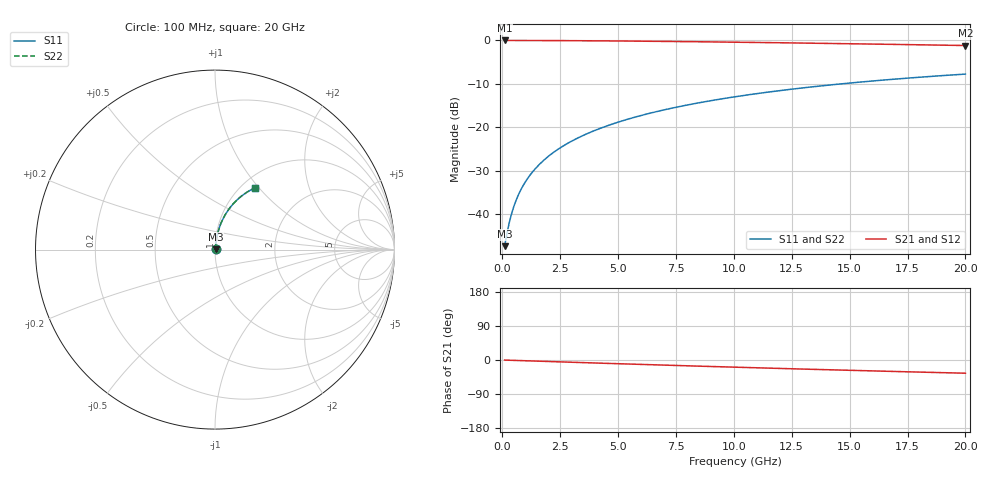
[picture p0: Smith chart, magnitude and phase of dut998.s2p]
! Touchstone file exported from HFSS 2024.1.0
!  File:  C:/UserFiles/LocalFiles/RDL_TSV_Batchsim/temp_RDL_bottom_998_1779944206.aedt
!  Generated:  12:59:10 PM May 28, 2026
!  Design:  RDL_bottom
!  Project:  temp_RDL_bottom_998_1779944206
!  Setup:  Setup1
!  Solution:  Sweep
! Variables:
!  dtsv = 10.80580581um
!  hbump = 3um
!  htsv = 68.45um
!  ldown = 451.41um
!  lrdl = 100um
!  p = 40
!  p1 = 43.12um
!  rhole = 1um
!  t = 450um
!  tdown = 4.27um
!  trdl = 3.915915916um
!  wdown = 10.8um
!  wrdl = 20um
# GHz S MA R 50.000000
! Terminal data exported
! Port[1] = RDL1_T1
! Port[2] = RDL1_T2
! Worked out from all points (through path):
!   200 points, 100 MHz to 20 GHz, reference 50 ohm
!   highest |S21| = -0.03 dB at 100 MHz (marker M1); lowest = -1.2 dB at 20 GHz (marker M2)
!   group delay of S21, straight-line fit = 4.84 ps
!   lowest |S11| = -47.4 dB at 100 MHz (marker M3), VSWR 1.01, Z = 50.4 + j0.239 ohm
!   |S11| at or under -10 dB: start of sweep to 14.7 GHz
!   |S22| runs from -47.4 to -7.8 dB; largest |S21 - S12| = 2.7e-15
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0.1  0.004251 34.0  0.9965 -0.2  0.9965 -0.2  0.004251 34.0
! Gamma 0 0 0 0
! Port Impedance 50 0 50 0
0.2  0.005925 52.6  0.9964 -0.4  0.9964 -0.4  0.005926 52.6
0.3  0.007916 62.3  0.9963 -0.6  0.9963 -0.6  0.007918 62.3
0.4  0.01003 68.0  0.9962 -0.8  0.9962 -0.8  0.01004 68.0
0.5  0.01222 71.7  0.9961 -1.0  0.9961 -1.0  0.01222 71.7
0.6  0.01444 74.2  0.996 -1.2  0.996 -1.2  0.01444 74.2
0.8  0.01894 77.3  0.9958 -1.6  0.9958 -1.6  0.01894 77.3
1.1  0.02576 79.7  0.9954 -2.2  0.9954 -2.2  0.02576 79.7
1.5  0.03489 81.2  0.9948 -3.0  0.9948 -3.0  0.03489 81.2
1.8  0.04174 81.6  0.9942 -3.6  0.9942 -3.6  0.04174 81.6
2.1  0.04858 81.8  0.9936 -4.2  0.9936 -4.2  0.04858 81.8
2.7  0.06224 81.7  0.992 -5.4  0.992 -5.4  0.06224 81.7
3.5  0.08036 81.2  0.9894 -6.9  0.9894 -6.9  0.08036 81.1
4.2  0.09614 80.4  0.9866 -8.3  0.9866 -8.3  0.09614 80.4
5  0.1141 79.5  0.983 -9.8  0.983 -9.8  0.1141 79.4
5.9  0.1341 78.3  0.9784 -11.5  0.9784 -11.5  0.1341 78.2
6.8  0.154 77.0  0.9734 -13.2  0.9734 -13.2  0.1539 77.0
8.3  0.1866 74.8  0.9641 -15.9  0.9641 -15.9  0.1865 74.8
10.1  0.2248 72.1  0.9517 -19.1  0.9517 -19.1  0.2247 72.0
13.4  0.2914 67.0  0.9267 -24.7  0.9267 -24.7  0.2914 67.0
16.7  0.3528 62.0  0.8995 -29.9  0.8995 -29.9  0.3528 62.0
20  0.4083 57.2  0.8712 -34.9  0.8712 -34.9  0.4082 57.2
